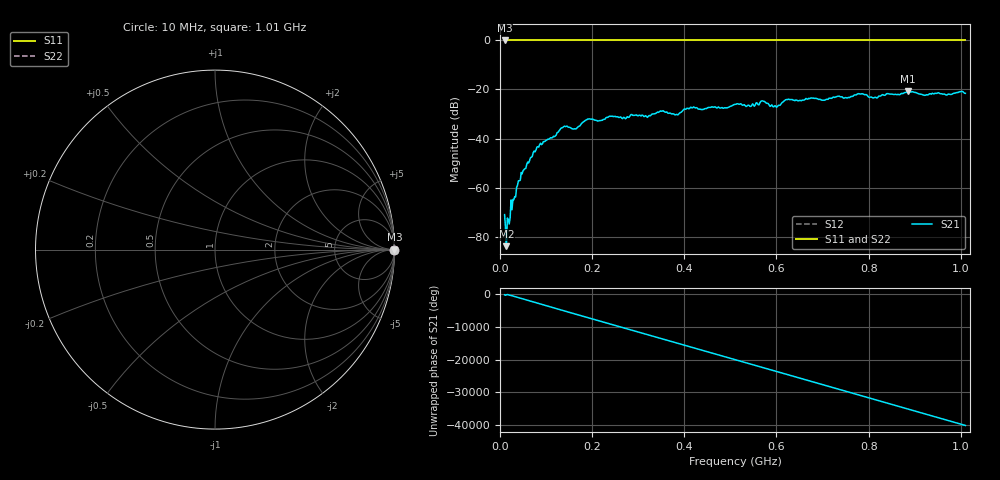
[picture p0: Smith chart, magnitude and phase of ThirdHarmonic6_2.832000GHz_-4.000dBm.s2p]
! 8/17/2025 7:33:20 AM
! C:\ANRITSUVNA\TEMP\TEMP.S2P
! CHANNEL.1
! TR.MEASUREMENT
! RAW.DATA
! RF.CORRECTION.OFF
! AVERAGING.OFF
! IF.BANDWIDTH: 5KHZ
! SWEEPTYPE:  FREQ.SWEEP(Linear)
! Reference Plane Port Info
! PORT:  PORT1  PORT2
! DISTANCE:  0  m  0  m
! TIME:  0  s  0  s
! PHASE.OFFSET:  0  deg.  0  deg.
! LOSS:  0  dB  0  dB
! REF.LOSS:  0  dB  0  dB
! REF.FREQ:  0  Hz  0  Hz
! Power Info
! POWER:  -20  dBm  -20  dBm
! EFF.POWER:  -20  dBm  -20  dBm
! SOURCE.ATTEN:  0  dB  0  dB
! TEST.ATTEN:  0  dB  0  dB
# GHZ S RI R 50.0
! FREQ.GHZ  S11RE  S11IM  S21RE  S21IM  S12RE  S12IM  S22RE  S22IM
!; PortSelection: Port_12
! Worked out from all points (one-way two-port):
!   501 points, 10 MHz to 1.01 GHz, reference 50 ohm
!   highest |S21| = -20.67 dB at 886 MHz (marker M1); lowest = -83.9 dB at 14 MHz (marker M2)
!   lowest |S11| = 0.0 dB at 10 MHz (marker M3)
!   |S11| at or under -10 dB: nowhere
!   |S22| runs from 0.0 to 0.0 dB; largest |S21 - S12| = 1.1
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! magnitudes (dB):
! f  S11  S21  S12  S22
! 10 MHz  0.0  -71.1  0.0  0.0
! 14 MHz  0.0  -83.9  0.0  0.0
! 18 MHz  0.0  -73.1  0.0  0.0
! 28 MHz  0.0  -64.9  0.0  0.0
! 42 MHz  0.0  -57.2  0.0  0.0
! 76 MHz  0.0  -45.4  0.0  0.0
! 136 MHz  0.0  -35.6  0.0  0.0
! 162 MHz  0.0  -36.0  0.0  0.0
! 178 MHz  0.0  -33.7  0.0  0.0
! 192 MHz  0.0  -32.0  0.0  0.0
! 322 MHz  0.0  -30.9  0.0  0.0
! 344 MHz  0.0  -29.3  0.0  0.0
! 384 MHz  0.0  -30.1  0.0  0.0
! 416 MHz  0.0  -27.5  0.0  0.0
! 510 MHz  0.0  -26.0  0.0  0.0
! 570 MHz  0.0  -24.6  0.0  0.0
! 598 MHz  0.0  -26.7  0.0  0.0
! 622 MHz  0.0  -24.1  0.0  0.0
! 678 MHz  0.0  -23.5  0.0  0.0
! 844 MHz  0.0  -21.8  0.0  0.0
! 886 MHz  0.0  -20.7  0.0  0.0
! 1.01 GHz  0.0  -21.6  0.0  0.0
